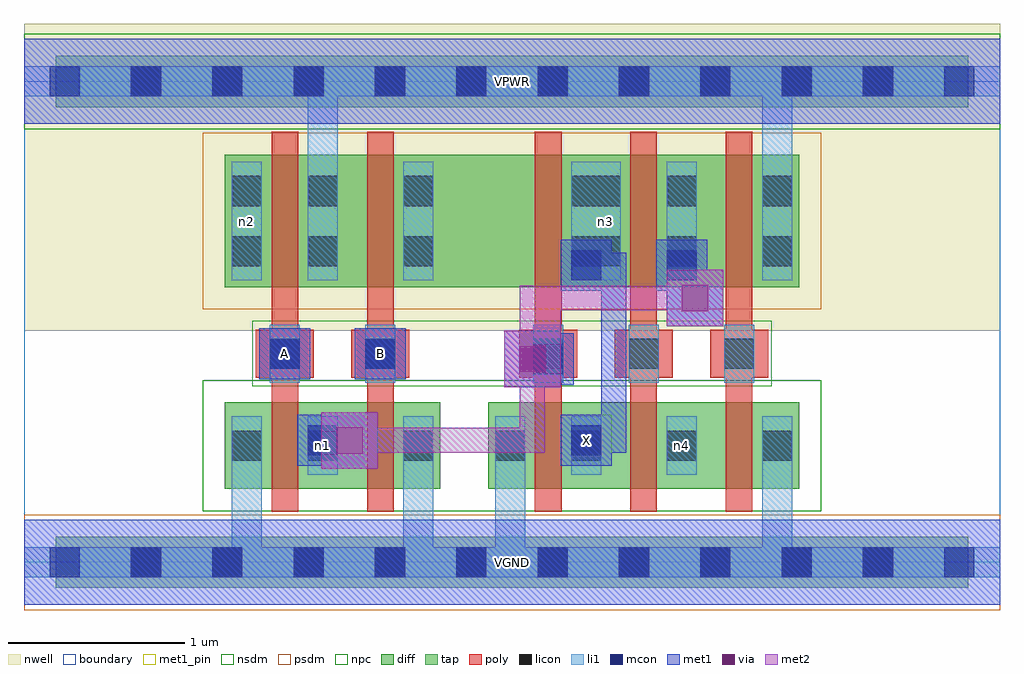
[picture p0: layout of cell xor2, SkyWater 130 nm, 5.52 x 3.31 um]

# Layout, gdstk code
import gdstk
lib = gdstk.Library(unit=1e-6, precision=1e-09)
def R(c, l, rs):  # rectangles x0, y0, x1, y1
    for r in rs: c.add(gdstk.rectangle(r[:2], r[2:], *l))
def A(c, l, x, y, w, h, nx, ny, dx, dy):  # array of equal rectangles
    R(c, l, [(x+i*dx, y+j*dy, x+i*dx+w, y+j*dy+h) for i in range(nx) for j in range(ny)])
nwell = (64, 20)
diff = (65, 20)
tap = (65, 44)
poly = (66, 20)
licon = (66, 44)
li1 = (67, 20)
mcon = (67, 44)
met1_pin = (68, 16)
met1 = (68, 20)
via = (68, 44)
met2 = (69, 20)
nsdm = (93, 44)
psdm = (94, 20)
npc = (95, 20)
boundary = (235, 4)

xor2 = lib.new_cell('xor2')
R(xor2, nwell, [(0,1.31,5.52,3.045)])
R(xor2, diff, [(1.135,0.415,2.355,0.905), (2.625,0.415,4.385,0.905), (1.135,1.555,3.305,2.305), (3.165,1.555,4.385,2.305)])
R(xor2, tap, [(0.18,-0.145,5.34,0.145), (0.18,2.575,5.34,2.865)])
A(xor2, poly, 2.89, 0.285, 0.15, 2.15, 3, 1, 0.54, 0)
A(xor2, poly, 2.8, 1.045, 0.33, 0.27, 3, 1, 0.54, 0)
R(xor2, poly, [(1.4,0.285,1.55,2.435), (1.94,0.285,2.09,2.435), (1.31,1.045,1.64,1.315), (1.85,1.045,2.18,1.315)])
A(xor2, licon, 0.605, -0.085, 0.17, 0.17, 10, 2, 0.46, 2.72)
A(xor2, licon, 3.095, 0.575, 0.17, 0.17, 3, 1, 0.54, 0)
A(xor2, licon, 2.88, 1.095, 0.17, 0.17, 3, 1, 0.54, 0)
R(xor2, licon, [(1.175,0.575,1.345,0.745), (1.605,0.575,1.775,0.745), (2.145,0.575,2.315,0.745), (2.665,0.575,2.835,0.745), (1.39,1.095,1.56,1.265), (1.93,1.095,2.1,1.265), (1.175,1.675,1.345,1.845), (1.605,1.675,1.775,1.845), (2.145,1.675,2.315,1.845), (3.095,1.675,3.265,1.845), (3.205,1.675,3.375,1.845), (3.635,1.675,3.805,1.845), (4.175,1.675,4.345,1.845), (1.175,2.015,1.345,2.185), (1.605,2.015,1.775,2.185), (2.145,2.015,2.315,2.185), (3.095,2.015,3.265,2.185), (3.205,2.015,3.375,2.185), (3.635,2.015,3.805,2.185), (4.175,2.015,4.345,2.185)])
A(xor2, li1, 3.095, 0.495, 0.17, 0.33, 3, 1, 0.54, 0)
A(xor2, li1, 2.88, 1.015, 0.17, 0.33, 3, 1, 0.54, 0)
R(xor2, li1, [(0,-0.085,5.52,0.085), (1.175,-0.085,1.345,0.825), (2.145,-0.085,2.315,0.825), (2.665,-0.085,2.835,0.825), (4.175,-0.085,4.345,0.825), (1.175,0.495,1.345,0.825), (1.605,0.495,1.775,0.825), (2.145,0.495,2.315,0.825), (2.665,0.495,2.835,0.825), (1.39,1.015,1.56,1.345), (1.93,1.015,2.1,1.345), (1.175,1.595,1.345,2.265), (1.605,1.595,1.775,2.265), (1.605,1.595,1.775,2.805), (2.145,1.595,2.315,2.265), (3.095,1.595,3.265,2.265), (3.205,1.595,3.375,2.265), (3.635,1.595,3.805,2.265), (4.175,1.595,4.345,2.265), (4.175,1.595,4.345,2.805), (0,2.635,5.52,2.805)])
A(xor2, mcon, 0.145, -0.085, 0.17, 0.17, 12, 2, 0.46, 2.72)
R(xor2, mcon, [(1.605,0.605,1.775,0.775), (3.095,0.605,3.265,0.775), (2.88,1.065,3.05,1.235), (1.39,1.095,1.56,1.265), (1.93,1.095,2.1,1.265), (3.095,1.595,3.265,1.765), (3.635,1.595,3.805,1.765)])
R(xor2, met1_pin, [(0,-0.24,5.52,0.24), (3.035,0.545,3.325,0.835), (1.33,1.035,1.62,1.325), (1.87,1.035,2.16,1.325), (0,2.48,5.52,2.96)])
R(xor2, met1, [(0,-0.24,5.52,0.24), (1.68,0.53,2,0.85), (1.545,0.545,1.835,0.835), (3.035,0.545,3.325,0.835), (1.62,0.62,1.91,0.76), (3.11,0.62,3.405,0.76), (3.265,0.62,3.405,1.565), (2.715,0.99,3.035,1.31), (2.82,1.005,3.11,1.295), (1.33,1.035,1.62,1.325), (1.87,1.035,2.16,1.325), (2.805,1.08,3.035,1.22), (3.635,1.335,3.955,1.655), (3.265,1.425,3.405,1.75), (3.725,1.425,3.865,1.75), (3.035,1.535,3.325,1.825), (3.575,1.535,3.865,1.825), (3.11,1.61,3.405,1.75), (3.65,1.61,3.865,1.75), (0,2.48,5.52,2.96)])
R(xor2, via, [(1.765,0.615,1.915,0.765), (2.8,1.075,2.95,1.225), (3.72,1.42,3.87,1.57)])
R(xor2, met2, [(1.68,0.53,2,0.85), (1.77,0.62,2.945,0.76), (2.805,0.62,2.945,1.22), (2.715,0.99,3.035,1.31), (2.805,1.08,2.945,1.565), (2.805,1.31,3.035,1.425), (3.635,1.335,3.955,1.655), (2.805,1.425,3.865,1.565)])
R(xor2, nsdm, [(1.01,0.29,4.51,1.03), (0,2.45,5.52,2.99)])
R(xor2, psdm, [(0,-0.27,5.52,0.27), (1.01,1.43,4.51,2.43)])
R(xor2, npc, [(1.29,0.995,4.23,1.365)])
R(xor2, boundary, [(0,0,5.52,2.72)])
xor2.add(gdstk.Label('n1', (1.69,0.66), layer=67, texttype=5))
xor2.add(gdstk.Label('n4', (3.72,0.66), layer=67, texttype=5))
xor2.add(gdstk.Label('n2', (1.26,1.93), layer=67, texttype=5))
xor2.add(gdstk.Label('n3', (3.29,1.93), layer=67, texttype=5))
xor2.add(gdstk.Label('A', (1.475,1.18), layer=68, texttype=5))
xor2.add(gdstk.Label('B', (2.015,1.18), layer=68, texttype=5))
xor2.add(gdstk.Label('X', (3.18,0.69), layer=68, texttype=5))
xor2.add(gdstk.Label('VPWR', (2.76,2.72), layer=68, texttype=5))
xor2.add(gdstk.Label('VGND', (2.76,0), layer=68, texttype=5))
xor2.add(gdstk.Label('A', (1.475,1.18), layer=68, texttype=16))
xor2.add(gdstk.Label('B', (2.015,1.18), layer=68, texttype=16))
xor2.add(gdstk.Label('X', (3.18,0.69), layer=68, texttype=16))
xor2.add(gdstk.Label('VPWR', (2.76,2.72), layer=68, texttype=16))
xor2.add(gdstk.Label('VGND', (2.76,0), layer=68, texttype=16))

lib.write_gds('xor2.gds')
